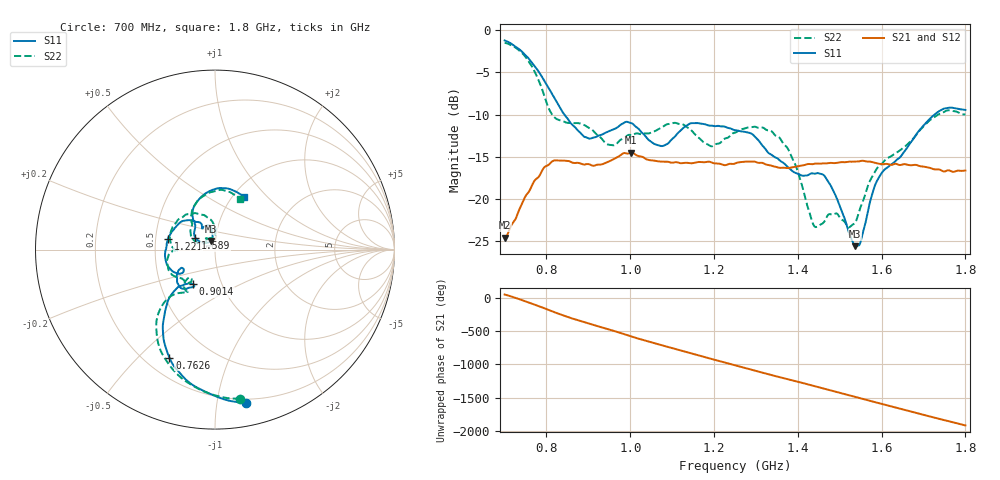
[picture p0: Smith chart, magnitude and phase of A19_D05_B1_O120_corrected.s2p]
! Created with skrf 1.9.0 (http://scikit-rf.org).
# Hz S RI R 50.0
!freq ReS11 ImS11 ReS21 ImS21 ReS12 ImS12 ReS22 ImS22
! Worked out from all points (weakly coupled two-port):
!   1601 points, 700 MHz to 1.8 GHz, reference 50 ohm
!   highest |S21| = -14.53 dB at 1.002 GHz (marker M1); lowest = -24.6 dB at 700.7 MHz (marker M2)
!   lowest |S11| = -25.6 dB at 1.537 GHz (marker M3), VSWR 1.11, Z = 47.6 + j4.53 ohm
!   |S11| at or under -10 dB: 842.5 MHz to 1.727 GHz (884 MHz wide, 68.8 % of centre)
!   |S22| runs from -23.4 to -1.5 dB; largest |S21 - S12| = 0.0035
!   S11 on the Smith chart (normalised r, x): 700 MHz: 0.17, -1.21; 762.6 MHz: 0.30, -0.62; 901.4 MHz: 0.73, -0.30; 1.221 GHz: 0.58, +0.07; 1.589 GHz: 0.80, +0.11; 1.8 GHz: 1.13, +0.75
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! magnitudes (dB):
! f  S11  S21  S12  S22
! 700 MHz  -1.2  -24.6  -24.4  -1.5
! 700.7 MHz  -1.2  -24.6  -24.3  -1.5
! 762.6 MHz  -3.7  -18.7  -18.7  -4.1
! 816.9 MHz  -7.9  -15.5  -15.6  -10.2
! 883.6 MHz  -12.3  -15.9  -15.8  -11.1
! 901.4 MHz  -12.9  -15.9  -15.9  -11.6
! 952.3 MHz  -11.9  -15.5  -15.5  -13.6
! 1.002 GHz  -11.0  -14.5  -14.6  -12.5
! 1.067 GHz  -13.7  -15.6  -15.5  -11.7
! 1.144 GHz  -11.0  -15.8  -15.8  -11.8
! 1.221 GHz  -11.4  -16.0  -16.0  -13.0
! 1.25 GHz  -11.9  -15.8  -15.7  -12.1
! 1.357 GHz  -15.5  -16.3  -16.3  -12.8
! 1.394 GHz  -16.9  -16.2  -16.2  -16.0
! 1.434 GHz  -17.0  -15.9  -15.9  -22.6
! 1.476 GHz  -18.2  -15.7  -15.8  -21.8
! 1.537 GHz  -25.6  -15.6  -15.6  -22.8
! 1.55 GHz  -25.0  -15.5  -15.5  -20.9
! 1.589 GHz  -17.9  -15.8  -15.8  -16.4
! 1.617 GHz  -16.1  -15.9  -15.9  -15.1
! 1.732 GHz  -9.8  -16.5  -16.5  -10.1
! 1.8 GHz  -9.5  -16.6  -16.6  -10.0
